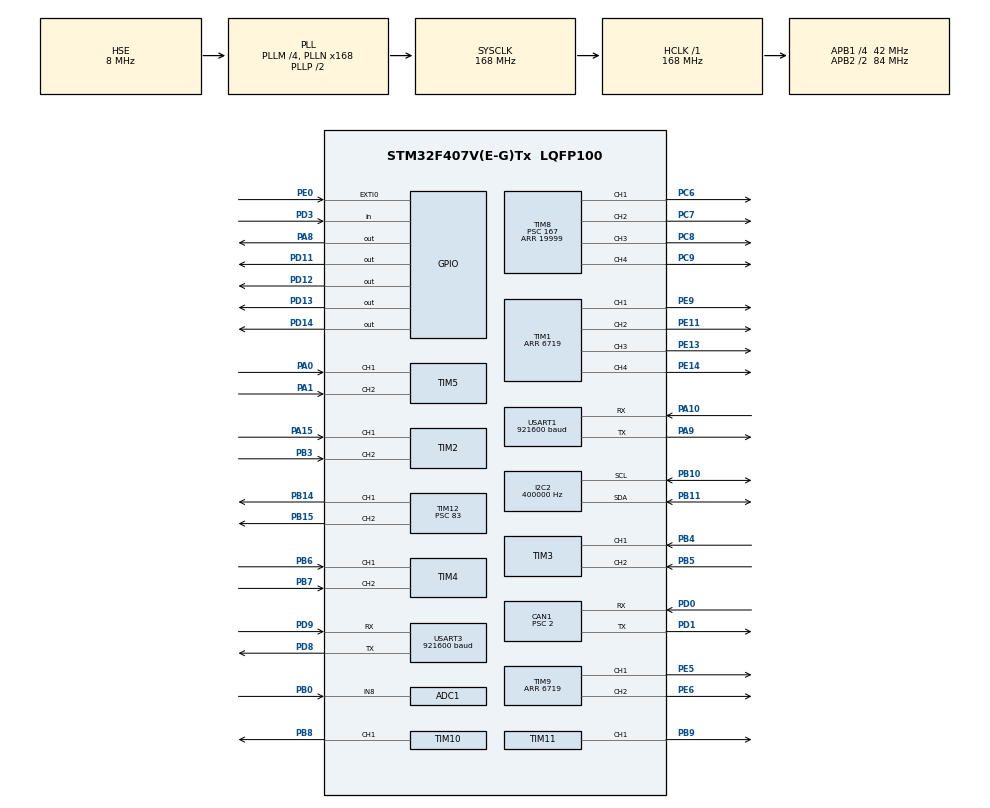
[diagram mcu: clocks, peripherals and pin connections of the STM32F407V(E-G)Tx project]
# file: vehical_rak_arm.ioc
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ADC1.Channel-1\#ChannelRegularConversion=ADC_CHANNEL_8
ADC1.ContinuousConvMode=ENABLE
ADC1.DMAContinuousRequests=ENABLE
ADC1.NbrOfConversionFlag=1
ADC1.Rank-1\#ChannelRegularConversion=1
ADC1.SamplingTime-1\#ChannelRegularConversion=ADC_SAMPLETIME_480CYCLES
ADC1.master=1
CAN1.ABOM=ENABLE
CAN1.AWUM=ENABLE
CAN1.BS1=CAN_BS1_16TQ
CAN1.BS2=CAN_BS2_4TQ
CAN1.CalculateBaudRate=1000000
CAN1.CalculateTimeBit=1000
CAN1.CalculateTimeQuantum=47.61904761904762
CAN1.NART=ENABLE
CAN1.Prescaler=2
CAN1.SJW=CAN_SJW_1TQ
Dma.ADC1.4.Direction=DMA_PERIPH_TO_MEMORY
Dma.ADC1.4.FIFOMode=DMA_FIFOMODE_DISABLE
Dma.ADC1.4.Instance=DMA2_Stream0
Dma.ADC1.4.MemDataAlignment=DMA_MDATAALIGN_HALFWORD
Dma.ADC1.4.MemInc=DMA_MINC_ENABLE
Dma.ADC1.4.Mode=DMA_CIRCULAR
Dma.ADC1.4.PeriphDataAlignment=DMA_PDATAALIGN_HALFWORD
Dma.ADC1.4.PeriphInc=DMA_PINC_DISABLE
Dma.ADC1.4.Priority=DMA_PRIORITY_LOW
Dma.Request0=USART1_RX
Dma.Request1=USART1_TX
Dma.Request2=USART3_RX
Dma.Request3=USART3_TX
Dma.Request4=ADC1
Dma.USART1_RX.0.Direction=DMA_PERIPH_TO_MEMORY
Dma.USART1_RX.0.FIFOMode=DMA_FIFOMODE_DISABLE
Dma.USART1_RX.0.Instance=DMA2_Stream2
Dma.USART1_RX.0.MemDataAlignment=DMA_MDATAALIGN_BYTE
Dma.USART1_RX.0.MemInc=DMA_MINC_ENABLE
Dma.USART1_RX.0.Mode=DMA_CIRCULAR
Dma.USART1_RX.0.PeriphDataAlignment=DMA_PDATAALIGN_BYTE
Dma.USART1_RX.0.PeriphInc=DMA_PINC_DISABLE
Dma.USART1_RX.0.Priority=DMA_PRIORITY_LOW
Dma.USART1_TX.1.Direction=DMA_MEMORY_TO_PERIPH
Dma.USART1_TX.1.FIFOMode=DMA_FIFOMODE_DISABLE
Dma.USART1_TX.1.Instance=DMA2_Stream7
Dma.USART1_TX.1.MemDataAlignment=DMA_MDATAALIGN_BYTE
Dma.USART1_TX.1.MemInc=DMA_MINC_ENABLE
Dma.USART1_TX.1.Mode=DMA_NORMAL
Dma.USART1_TX.1.PeriphDataAlignment=DMA_PDATAALIGN_BYTE
Dma.USART1_TX.1.PeriphInc=DMA_PINC_DISABLE
Dma.USART1_TX.1.Priority=DMA_PRIORITY_LOW
Dma.USART3_RX.2.Direction=DMA_PERIPH_TO_MEMORY
Dma.USART3_RX.2.FIFOMode=DMA_FIFOMODE_DISABLE
Dma.USART3_RX.2.Instance=DMA1_Stream1
Dma.USART3_RX.2.MemDataAlignment=DMA_MDATAALIGN_BYTE
Dma.USART3_RX.2.MemInc=DMA_MINC_ENABLE
Dma.USART3_RX.2.Mode=DMA_CIRCULAR
Dma.USART3_RX.2.PeriphDataAlignment=DMA_PDATAALIGN_BYTE
Dma.USART3_RX.2.PeriphInc=DMA_PINC_DISABLE
Dma.USART3_RX.2.Priority=DMA_PRIORITY_LOW
Dma.USART3_TX.3.Direction=DMA_MEMORY_TO_PERIPH
Dma.USART3_TX.3.FIFOMode=DMA_FIFOMODE_DISABLE
Dma.USART3_TX.3.Instance=DMA1_Stream3
Dma.USART3_TX.3.MemDataAlignment=DMA_MDATAALIGN_BYTE
Dma.USART3_TX.3.MemInc=DMA_MINC_ENABLE
Dma.USART3_TX.3.Mode=DMA_NORMAL
Dma.USART3_TX.3.PeriphDataAlignment=DMA_PDATAALIGN_BYTE
Dma.USART3_TX.3.PeriphInc=DMA_PINC_DISABLE
Dma.USART3_TX.3.Priority=DMA_PRIORITY_LOW
FREERTOS.Tasks01=defaultTask,24,128,StartDefaultTask,Default,NULL,Dynamic,NULL,NULL
FREERTOS.configTOTAL_HEAP_SIZE=32768
I2C2.ClockSpeed=400000
IWDG.Prescaler=IWDG_PRESCALER_64
IWDG.Reload=1000
Mcu.Family=STM32F4
Mcu.Name=STM32F407V(E-G)Tx
Mcu.Package=LQFP100
NVIC.CAN1_RX0_IRQn=true\:6\:0\:true\:false\:true\:true\:true\:true\:true
NVIC.DMA1_Stream1_IRQn=true\:5\:0\:false\:false\:true\:true\:false\:true\:true
NVIC.DMA1_Stream3_IRQn=true\:5\:0\:false\:false\:true\:true\:false\:true\:true
NVIC.DMA2_Stream0_IRQn=true\:5\:0\:true\:false\:true\:true\:true\:true\:true
NVIC.DMA2_Stream2_IRQn=true\:5\:0\:false\:false\:true\:true\:false\:true\:true
NVIC.DMA2_Stream7_IRQn=true\:5\:0\:false\:false\:true\:true\:false\:true\:true
NVIC.EXTI0_IRQn=true\:7\:0\:true\:false\:true\:false\:true\:true\:true
NVIC.PriorityGroup=NVIC_PRIORITYGROUP_4
NVIC.TIM6_DAC_IRQn=true\:2\:0\:true\:false\:true\:true\:true\:true\:true
NVIC.TIM7_IRQn=true\:15\:0\:false\:false\:true\:false\:false\:true\:true
NVIC.TimeBase=TIM7_IRQn
NVIC.TimeBaseIP=TIM7
NVIC.USART1_IRQn=true\:5\:0\:false\:false\:true\:true\:true\:true\:true
NVIC.USART3_IRQn=true\:5\:0\:false\:false\:true\:true\:true\:true\:true
PA0-WKUP.Signal=S_TIM5_CH1
PA1.Signal=S_TIM5_CH2
PA10.Mode=Asynchronous
PA10.Signal=USART1_RX
PA13.Mode=Serial_Wire
PA13.Signal=SYS_JTMS-SWDIO
PA14.Mode=Serial_Wire
PA14.Signal=SYS_JTCK-SWCLK
PA15.Signal=S_TIM2_CH1_ETR
PA8.GPIO_ModeDefaultOutputPP=GPIO_MODE_OUTPUT_PP
PA8.Signal=GPIO_Output
PA9.Mode=Asynchronous
PA9.Signal=USART1_TX
PB0.Signal=ADCx_IN8
PB10.Mode=I2C
PB10.Signal=I2C2_SCL
PB11.Mode=I2C
PB11.Signal=I2C2_SDA
PB14.Signal=S_TIM12_CH1
PB15.Signal=S_TIM12_CH2
PB3.Signal=S_TIM2_CH2
PB4.Signal=S_TIM3_CH1
PB5.Signal=S_TIM3_CH2
PB6.Signal=S_TIM4_CH1
PB7.Signal=S_TIM4_CH2
PB8.Signal=S_TIM10_CH1
PB9.Signal=S_TIM11_CH1
PC6.Signal=S_TIM8_CH1
PC7.Signal=S_TIM8_CH2
PC8.Signal=S_TIM8_CH3
PC9.Signal=S_TIM8_CH4
PD0.Mode=CAN_Activate
PD0.Signal=CAN1_RX
PD1.Mode=CAN_Activate
PD1.Signal=CAN1_TX
PD11.GPIO_ModeDefaultOutputPP=GPIO_MODE_OUTPUT_PP
PD11.Signal=GPIO_Output
PD12.GPIO_ModeDefaultOutputPP=GPIO_MODE_OUTPUT_PP
PD12.Signal=GPIO_Output
PD13.GPIO_ModeDefaultOutputPP=GPIO_MODE_OUTPUT_PP
PD13.Signal=GPIO_Output
PD14.GPIO_ModeDefaultOutputPP=GPIO_MODE_OUTPUT_PP
PD14.Signal=GPIO_Output
PD3.GPIO_PuPd=GPIO_PULLDOWN
PD3.Signal=GPIO_Input
PD8.Mode=Asynchronous
PD8.Signal=USART3_TX
PD9.Mode=Asynchronous
PD9.Signal=USART3_RX
PE0.GPIO_ModeDefaultEXTI=GPIO_MODE_IT_RISING_FALLING
PE0.GPIO_PuPd=GPIO_PULLUP
PE0.Signal=GPXTI0
PE11.Signal=S_TIM1_CH2
PE13.Signal=S_TIM1_CH3
PE14.Signal=S_TIM1_CH4
PE5.Signal=S_TIM9_CH1
PE6.Signal=S_TIM9_CH2
PE9.Signal=S_TIM1_CH1
PH0-OSC_IN.Mode=HSE-External-Oscillator
PH0-OSC_IN.Signal=RCC_OSC_IN
PH1-OSC_OUT.Mode=HSE-External-Oscillator
PH1-OSC_OUT.Signal=RCC_OSC_OUT
ProjectManager.HeapSize=0x2000
ProjectManager.StackSize=0x4000
ProjectManager.TargetToolchain=CMake
RCC.48MHZClocksFreq_Value=48000000
RCC.AHBFreq_Value=168000000
RCC.APB1CLKDivider=RCC_HCLK_DIV4
RCC.APB1Freq_Value=42000000
RCC.APB1TimFreq_Value=84000000
RCC.APB2CLKDivider=RCC_HCLK_DIV2
RCC.APB2Freq_Value=84000000
RCC.APB2TimFreq_Value=168000000
RCC.CortexFreq_Value=168000000
RCC.HCLKFreq_Value=168000000
RCC.HSE_VALUE=8000000
RCC.HSI_VALUE=16000000
RCC.LSE_VALUE=32768
RCC.PLLM=4
RCC.PLLN=168
RCC.PLLQ=7
RCC.PLLSourceVirtual=RCC_PLLSOURCE_HSE
RCC.SYSCLKFreq_VALUE=168000000
RCC.SYSCLKSource=RCC_SYSCLKSOURCE_PLLCLK
RCC.VCOOutputFreq_Value=336000000
SH.ADCx_IN8.0=ADC1_IN8,IN8
SH.S_TIM10_CH1.0=TIM10_CH1,PWM Generation1 CH1
SH.S_TIM11_CH1.0=TIM11_CH1,PWM Generation1 CH1
SH.S_TIM12_CH1.0=TIM12_CH1,PWM Generation1 CH1
SH.S_TIM12_CH2.0=TIM12_CH2,PWM Generation2 CH2
SH.S_TIM1_CH1.0=TIM1_CH1,PWM Generation1 CH1
SH.S_TIM1_CH2.0=TIM1_CH2,PWM Generation2 CH2
SH.S_TIM1_CH3.0=TIM1_CH3,PWM Generation3 CH3
SH.S_TIM1_CH4.0=TIM1_CH4,PWM Generation4 CH4
SH.S_TIM2_CH1_ETR.0=TIM2_CH1,Encoder_Interface
SH.S_TIM2_CH2.0=TIM2_CH2,Encoder_Interface
SH.S_TIM3_CH1.0=TIM3_CH1,Encoder_Interface
SH.S_TIM3_CH2.0=TIM3_CH2,Encoder_Interface
SH.S_TIM4_CH1.0=TIM4_CH1,Encoder_Interface
SH.S_TIM4_CH2.0=TIM4_CH2,Encoder_Interface
SH.S_TIM5_CH1.0=TIM5_CH1,Encoder_Interface
SH.S_TIM5_CH2.0=TIM5_CH2,Encoder_Interface
SH.S_TIM8_CH1.0=TIM8_CH1,PWM Generation1 CH1
SH.S_TIM8_CH2.0=TIM8_CH2,PWM Generation2 CH2
SH.S_TIM8_CH3.0=TIM8_CH3,PWM Generation3 CH3
SH.S_TIM8_CH4.0=TIM8_CH4,PWM Generation4 CH4
SH.S_TIM9_CH1.0=TIM9_CH1,PWM Generation1 CH1
SH.S_TIM9_CH2.0=TIM9_CH2,PWM Generation2 CH2
TIM1.AutoReloadPreload=TIM_AUTORELOAD_PRELOAD_ENABLE
TIM1.Channel-PWM\ Generation1\ CH1=TIM_CHANNEL_1
TIM1.Channel-PWM\ Generation2\ CH2=TIM_CHANNEL_2
TIM1.Channel-PWM\ Generation3\ CH3=TIM_CHANNEL_3
TIM1.Channel-PWM\ Generation4\ CH4=TIM_CHANNEL_4
TIM1.Period=6719
TIM10.AutoReloadPreload=TIM_AUTORELOAD_PRELOAD_ENABLE
TIM10.Channel=TIM_CHANNEL_1
TIM10.Period=6719
TIM11.AutoReloadPreload=TIM_AUTORELOAD_PRELOAD_ENABLE
TIM11.Channel=TIM_CHANNEL_1
TIM11.Period=6719
TIM12.AutoReloadPreload=TIM_AUTORELOAD_PRELOAD_ENABLE
TIM12.Channel-PWM\ Generation1\ CH1=TIM_CHANNEL_1
TIM12.Channel-PWM\ Generation2\ CH2=TIM_CHANNEL_2
TIM12.Period=19999
TIM12.Prescaler=83
TIM12.Pulse-PWM\ Generation1\ CH1=1500
TIM12.Pulse-PWM\ Generation2\ CH2=1500
TIM2.EncoderMode=TIM_ENCODERMODE_TI12
TIM3.EncoderMode=TIM_ENCODERMODE_TI12
TIM4.EncoderMode=TIM_ENCODERMODE_TI12
TIM5.EncoderMode=TIM_ENCODERMODE_TI12
TIM6.Period=3359
TIM8.AutoReloadPreload=TIM_AUTORELOAD_PRELOAD_ENABLE
TIM8.Channel-PWM\ Generation1\ CH1=TIM_CHANNEL_1
TIM8.Channel-PWM\ Generation2\ CH2=TIM_CHANNEL_2
TIM8.Channel-PWM\ Generation3\ CH3=TIM_CHANNEL_3
TIM8.Channel-PWM\ Generation4\ CH4=TIM_CHANNEL_4
TIM8.Period=19999
TIM8.Prescaler=167
TIM8.Pulse-PWM\ Generation1\ CH1=1500
TIM8.Pulse-PWM\ Generation2\ CH2=1500
TIM8.Pulse-PWM\ Generation3\ CH3=1500
TIM8.Pulse-PWM\ Generation4\ CH4=1500
TIM9.AutoReloadPreload=TIM_AUTORELOAD_PRELOAD_ENABLE
TIM9.Channel-PWM\ Generation1\ CH1=TIM_CHANNEL_1
TIM9.Channel-PWM\ Generation2\ CH2=TIM_CHANNEL_2
TIM9.Period=6719
USART1.BaudRate=921600
USART1.VirtualMode=VM_ASYNC
USART3.BaudRate=921600
USART3.VirtualMode=VM_ASYNC
VP_FREERTOS_VS_CMSIS_V2.Mode=CMSIS_V2
VP_IWDG_VS_IWDG.Mode=IWDG_Activate
VP_SYS_VS_tim7.Mode=TIM7
VP_TIM10_VS_ClockSourceINT.Mode=Enable_Timer
VP_TIM11_VS_ClockSourceINT.Mode=Enable_Timer
VP_TIM6_VS_ClockSourceINT.Mode=Enable_Timer
board=custom

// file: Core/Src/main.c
/* USER CODE BEGIN Header */
/**
  ******************************************************************************
  * @file           : main.c
  * @brief          : Main program body
  ******************************************************************************
  * @attention
  *
  * Copyright (c) 2026 STMicroelectronics.
  * All rights reserved.
  *
  * This software is licensed under terms that can be found in the LICENSE file
  * in the root directory of this software component.
  * If no LICENSE file comes with this software, it is provided AS-IS.
  *
  ******************************************************************************
  */
/* USER CODE END Header */
#include "main.h"
#include "cmsis_os.h"
#include "adc.h"
#include "can.h"
#include "dma.h"
#include "i2c.h"
#include "iwdg.h"
#include "tim.h"
#include "usart.h"
#include "gpio.h"

/* USER CODE BEGIN Includes */
#include "app_arm.h"
#include "app_canopen.h"
/* USER CODE END Includes */

void SystemClock_Config(void);
void MX_FREERTOS_Init(void);

int main(void)
{

  /* MCU Configuration--------------------------------------------------------*/

  /* Reset of all peripherals, Initializes the Flash interface and the Systick. */
  HAL_Init();

  /* Configure the system clock */
  SystemClock_Config();

  /* Initialize all configured peripherals */
  MX_GPIO_Init();
  MX_DMA_Init();
  MX_ADC1_Init();
  MX_IWDG_Init();
  MX_TIM1_Init();
  MX_TIM3_Init();
  MX_TIM4_Init();
  MX_TIM6_Init();
  MX_TIM8_Init();
  MX_TIM9_Init();
  MX_TIM10_Init();
  MX_TIM11_Init();
  MX_TIM12_Init();
  MX_USART1_UART_Init();
  MX_CAN1_Init();
  MX_USART3_UART_Init();
  MX_TIM2_Init();
  MX_TIM5_Init();
  MX_I2C2_Init();
  /* USER CODE BEGIN 2 */
  arm_init();      /* [AI]  A2: 复位原因 + J3..J6 舵机 Home 安全位 + J1/J2 电机刹车
                      (外设初始化由 MX_TIM8/12 舵机、MX_TIM1/9/10/11 电机 PWM、
                       MX_TIM2/3/4/5 编码器完成；25kHz TIM6 由 joint_start_isr 在调度器后开) */
  can_init();      /* [AI]  R20: CAN 过滤器/启动/通知 + 接收队列 */
  /* [AI] A1: 臂板无串口路径——控制与遥测全走 CAN（USB v2 是底盘板备用链路） */
  /* USER CODE END 2 */

  /* Init scheduler */
  osKernelInitialize();  /* Call init function for freertos objects (in cmsis_os2.c) */
  MX_FREERTOS_Init();

  /* Start scheduler */
  osKernelStart();

  /* We should never get here as control is now taken by the scheduler */

  /* Infinite loop */
  while (1)
  {

  }
}

void SystemClock_Config(void)
{
  RCC_OscInitTypeDef RCC_OscInitStruct = {0};
  RCC_ClkInitTypeDef RCC_ClkInitStruct = {0};

  /** Configure the main internal regulator output voltage
  */
  __HAL_RCC_PWR_CLK_ENABLE();
  __HAL_PWR_VOLTAGESCALING_CONFIG(PWR_REGULATOR_VOLTAGE_SCALE1);

  /** Initializes the RCC Oscillators according to the specified parameters
  * in the RCC_OscInitTypeDef structure.
  */
  RCC_OscInitStruct.OscillatorType = RCC_OSCILLATORTYPE_LSI|RCC_OSCILLATORTYPE_HSE;
  RCC_OscInitStruct.HSEState = RCC_HSE_ON;
  RCC_OscInitStruct.LSIState = RCC_LSI_ON;
  RCC_OscInitStruct.PLL.PLLState = RCC_PLL_ON;
  RCC_OscInitStruct.PLL.PLLSource = RCC_PLLSOURCE_HSE;
  RCC_OscInitStruct.PLL.PLLM = 4;
  RCC_OscInitStruct.PLL.PLLN = 168;
  RCC_OscInitStruct.PLL.PLLP = RCC_PLLP_DIV2;
  RCC_OscInitStruct.PLL.PLLQ = 7;
  if (HAL_RCC_OscConfig(&RCC_OscInitStruct) != HAL_OK)
  {
    Error_Handler();
  }

  /** Initializes the CPU, AHB and APB buses clocks
  */
  RCC_ClkInitStruct.ClockType = RCC_CLOCKTYPE_HCLK|RCC_CLOCKTYPE_SYSCLK
                              |RCC_CLOCKTYPE_PCLK1|RCC_CLOCKTYPE_PCLK2;
  RCC_ClkInitStruct.SYSCLKSource = RCC_SYSCLKSOURCE_PLLCLK;
  RCC_ClkInitStruct.AHBCLKDivider = RCC_SYSCLK_DIV1;
  RCC_ClkInitStruct.APB1CLKDivider = RCC_HCLK_DIV4;
  RCC_ClkInitStruct.APB2CLKDivider = RCC_HCLK_DIV2;

  if (HAL_RCC_ClockConfig(&RCC_ClkInitStruct, FLASH_LATENCY_5) != HAL_OK)
  {
    Error_Handler();
  }
}

void HAL_TIM_PeriodElapsedCallback(TIM_HandleTypeDef *htim)
{
  if (htim->Instance == TIM7)
  {
    HAL_IncTick();
  }
}

void Error_Handler(void)
{
  __disable_irq();
  while (1)
  {
  }
}

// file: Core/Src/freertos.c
/* USER CODE BEGIN Header */
/**
  ******************************************************************************
  * File Name          : freertos.c
  * Description        : Code for freertos applications
  ******************************************************************************
  * @attention
  *
  * Copyright (c) 2026 STMicroelectronics.
  * All rights reserved.
  *
  * This software is licensed under terms that can be found in the LICENSE file
  * in the root directory of this software component.
  * If no LICENSE file comes with this software, it is provided AS-IS.
  *
  ******************************************************************************
  */
/* USER CODE END Header */

#include "FreeRTOS.h"
#include "task.h"
#include "main.h"
#include "cmsis_os.h"

/* USER CODE BEGIN Includes */
#include "app_dbg.h"
#include "app_arm.h"
#include "app_bench.h"
#include "app_buzz.h"
#include "app_canopen.h"
#include "app_canopen.h"
#include "app_can_diag.h"
#include "app_imu.h"
#include "app_joint.h"
#include "app_oled.h"
#include "iwdg.h"          /* [AI] A8: CubeMX 重生成后这行会丢，放进 USER CODE 块留住 */
/* USER CODE END Includes */

/* Definitions for defaultTask */
osThreadId_t defaultTaskHandle;
const osThreadAttr_t defaultTask_attributes = {
  .name = "defaultTask",
  .stack_size = 128 * 4,
  .priority = (osPriority_t) osPriorityNormal,
};

/* USER CODE BEGIN FunctionPrototypes */
static void task_can_rx(void *argument);
static void task_can_tx(void *argument);
static void task_status(void *argument);
static void task_can_diag(void *argument);   /* [AI] A3: CAN 互通诊断打印 */
static void task_bench(void *argument);      /* [AI] A6: 台架串口控制台 */
static void task_imu(void *argument);        /* [AI] A7: 板载 IMU 200 Hz 采样 */
static void task_arm_ctrl(void *argument);   /* v5: CANopen 命令/反馈桥接 50 Hz */
/* USER CODE END FunctionPrototypes */

void StartDefaultTask(void *argument);

void MX_FREERTOS_Init(void); /* (MISRA C 2004 rule 8.1) */

void MX_FREERTOS_Init(void) {

  /* Create the thread(s) */
  /* creation of defaultTask */
  defaultTaskHandle = osThreadNew(StartDefaultTask, NULL, &defaultTask_attributes);

  /* USER CODE BEGIN RTOS_THREADS */
  static const osThreadAttr_t canrx_attr = {
    .name = "canrx", .stack_size = 4096, .priority = (osPriority_t) osPriorityAboveNormal };
  static const osThreadAttr_t cantx_attr = {
    .name = "cantx", .stack_size = 4096, .priority = (osPriority_t) osPriorityNormal };
  static const osThreadAttr_t stat_attr = {
    .name = "stat", .stack_size = 4096, .priority = (osPriority_t) osPriorityBelowNormal };
  /* [AI] A3: 诊断线程（1 Hz 打一行 CAN 统计）。栈给 2048 B —— snprintf 需要。 */
  static const osThreadAttr_t candg_attr = {
    .name = "candg", .stack_size = 2048, .priority = (osPriority_t) osPriorityLow };
  /* [AI] A6: 台架控制台线程。栈 2048 B（vsnprintf）；优先级 Low（不能抢 1 kHz 收发）。 */
  static const osThreadAttr_t bench_attr = {
    .name = "bench", .stack_size = 2048, .priority = (osPriority_t) osPriorityLow };
  /* [AI] A7: IMU 采样线程（200 Hz，软 I2C 块读）。优先级 Normal：不能抢 1 kHz 收发。 */
  static const osThreadAttr_t imu_attr = {
    .name = "imu", .stack_size = 2048, .priority = (osPriority_t) osPriorityNormal };
  /* v5: CANopen 命令/反馈桥接（50 Hz）。优先级 Normal：不能抢 1 kHz 收发。 */
  static const osThreadAttr_t armctl_attr = {
    .name = "armctl", .stack_size = 2048, .priority = (osPriority_t) osPriorityNormal };
  /* [AI]  创建失败 = 堆不足。静默跑下去板子看起来"活着"但 CAN 全哑——
     这是最难查的失败模式，所以显式兜底（A1: 已无 ctrl 线程）。 */
  osThreadId_t h_canrx = osThreadNew(task_can_rx, NULL, &canrx_attr);  /* [AI]  CAN 接收解析 */
  osThreadId_t h_cantx = osThreadNew(task_can_tx, NULL, &cantx_attr);  /* [AI]  1kHz 发送 */
  osThreadId_t h_stat  = osThreadNew(task_status, NULL, &stat_attr);   /* [AI]  10Hz 喂狗 */
  osThreadId_t h_candg = osThreadNew(task_can_diag, NULL, &candg_attr);/* [AI] A3: CAN 诊断打印 */
  osThreadId_t h_bench = osThreadNew(task_bench, NULL, &bench_attr);   /* [AI] A6: 台架串口控制台 */
  osThreadId_t h_imu   = osThreadNew(task_imu, NULL, &imu_attr);       /* [AI] A7: IMU 采样 */
  osThreadId_t h_armctl = osThreadNew(task_arm_ctrl, NULL, &armctl_attr); /* v5: CANopen 桥接 */
  if (defaultTaskHandle == NULL || h_canrx == NULL ||
      h_cantx == NULL || h_stat == NULL || h_candg == NULL || h_bench == NULL ||
      h_imu == NULL || h_armctl == NULL) {
    Error_Handler();
  }
  /* USER CODE END RTOS_THREADS */

}

void StartDefaultTask(void *argument)
{
  /* USER CODE BEGIN StartDefaultTask */
  BOOT_MARK(6);
  (void)argument;   /* [AI]  未使用（其余四个任务同款写法），-Wextra 要求显式 */

  /* [AI] A2: 启动 J1/J2 的 25 kHz 位置环（TIM6 中断宿主 = stm32f4xx_it.c 的
     TIM6_DAC_IRQHandler）。与底盘板同思路：boot 与实时中断解耦，调度器起来后再开。 */
  joint_start_isr();
  BOOT_MARK(61);   /* 25 kHz 环已启动 */

  /* [AI] A6: 台架串口控制台初始化（建队列/互斥量 + 启动 USART1 单字节接收）。
     必须在调度器起来后调（用到 FreeRTOS 队列/信号量）。 */
  bench_init();
  BOOT_MARK(62);   /* 台架控制台已初始化 */

  /* [AI] A2: J3..J6 舵机标定沿用迁移前实测记录（ch1=PC7=J5、ch2=PC8=J4、
     ch3=PC9=J3、ch0=PC6=J6；MG995/996R 500µs=0°、2500µs=270°）。
     ⚠️ 转述自迁移前底盘板实测记录，本板装臂后需按实物复核一次。
     J1(ch5)/J2(ch4) 已改电机，不再适用本条。 */
  for(;;)
  {
    BOOT_MARK(63);
    osDelay(1000);
  }
  /* USER CODE END StartDefaultTask */
}

/* USER CODE BEGIN Application */
/* [AI] A1: 臂板没有 25 kHz 闭环，原 task_control（100 Hz 监督器）整体移除——
   舵机是纯硬件 PWM（app_servo），本板无周期性控制回路需要跑。 */

static void task_can_rx(void *argument)
{
  (void)argument;
  for (;;) {
    can_rx_task_step();                             /* [AI]  阻塞于队列 */
  }
}

static void task_can_tx(void *argument)
{
  (void)argument;
  TickType_t last = xTaskGetTickCount();
  for (;;) {
    can_tx_task_step(HAL_GetTick());
    vTaskDelayUntil(&last, pdMS_TO_TICKS(1));       /* 1 kHz */
  }
}

static void task_status(void *argument)
{
  BOOT_MARK(7);
  (void)argument;
  TickType_t last = xTaskGetTickCount();
  for (;;) {
    uint32_t now = HAL_GetTick();
    HAL_IWDG_Refresh(&hiwdg);                       /* [AI]  A1: 10Hz 喂狗 */
    oled_show_step(now);                            /* [AI] A9: SSD1306（PD11-14 软 SPI） */
    vTaskDelayUntil(&last, pdMS_TO_TICKS(100));     /* 10 Hz */
  }
}

/* [AI] A3: CAN 互通诊断线程 —— 只打印，不做任何控制决策 */
static void task_can_diag(void *argument)
{
  app_can_diag_task(argument);
}

/* [AI] A6: 台架串口控制台 —— 只调 app_joint 的公开 API，不直接碰 PWM/编码器 */
static void task_bench(void *argument)
{
  bench_task(argument);
}

/* [AI] A7: IMU 采样线程 */
static void task_imu(void *argument)
{
  imu_arm_task(argument);
}

static void task_arm_ctrl(void *argument)
{
  (void)argument;
  TickType_t last = xTaskGetTickCount();
  for (;;) {
    app_canopen_step(HAL_GetTick());
    vTaskDelayUntil(&last, pdMS_TO_TICKS(20));   /* 50 Hz */
  }
}

/* [AI]  ---- FreeRTOS 失败钩子（configCHECK_FOR_STACK_OVERFLOW=2 / malloc hook）----
   板子上没有控制台。做法：把现场留成 SWD 可直读的全局量，然后关中断空转，
   让 IWDG(2s) 复位。复位原因 'I'(IWDGRSTF) 会显示在 OLED 的 P 字段上
   （app_arm.c 的 arm_reset_cause），所以"反复显示 P I"= 有任务栈溢出或堆耗尽。 */
volatile char     dbg_overflow_task[configMAX_TASK_NAME_LEN];
volatile uint32_t dbg_overflow_cnt;
volatile uint32_t dbg_malloc_fail_cnt;

/* 签名按 FreeRTOS 侧的 char*（cmsis_os2.c 里那份 __WEAK 空实现是
   signed char*，属 ST 的笔误；强符号覆盖它即可）。 */
void vApplicationStackOverflowHook(TaskHandle_t xTask, char *pcTaskName);
void vApplicationMallocFailedHook(void);

void vApplicationStackOverflowHook(TaskHandle_t xTask, char *pcTaskName)
{
  (void)xTask;
  dbg_overflow_cnt++;
  for (unsigned i = 0U; i < configMAX_TASK_NAME_LEN; ++i) {
    dbg_overflow_task[i] = pcTaskName[i];
    if (pcTaskName[i] == '\0') break;
  }
  taskDISABLE_INTERRUPTS();
  for (;;) { }
}

void vApplicationMallocFailedHook(void)
{
  dbg_malloc_fail_cnt++;
  taskDISABLE_INTERRUPTS();
  for (;;) { }
}

/* USER CODE END Application */
